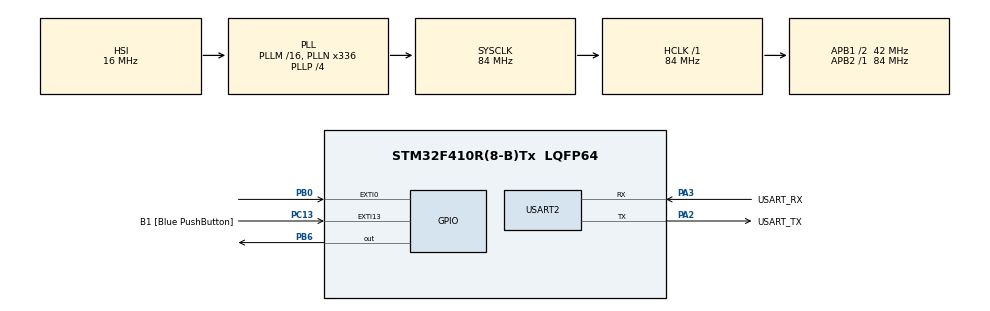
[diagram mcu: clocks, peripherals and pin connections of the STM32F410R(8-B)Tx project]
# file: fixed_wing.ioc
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Mcu.Family=STM32F4
Mcu.Name=STM32F410R(8-B)Tx
Mcu.Package=LQFP64
NVIC.PriorityGroup=NVIC_PRIORITYGROUP_0
PA10.Signal=USART1_RX
PA13.GPIO_Label=TMS
PA13.Mode=Serial_Wire
PA13.Signal=SYS_JTMS-SWDIO
PA14.GPIO_Label=TCK
PA14.Mode=Serial_Wire
PA14.Signal=SYS_JTCK-SWCLK
PA2.GPIO_Label=USART_TX
PA2.Mode=Asynchronous
PA2.Signal=USART2_TX
PA3.GPIO_Label=USART_RX
PA3.Mode=Asynchronous
PA3.Signal=USART2_RX
PA5.Signal=SPI1_SCK
PA6.Signal=SPI1_MISO
PA7.Signal=SPI1_MOSI
PA8.Signal=S_TIM1_CH1
PA9.Signal=USART1_TX
PB0.Signal=GPXTI0
PB3.GPIO_Label=SWO
PB3.Signal=SYS_JTDO-SWO
PB6.Signal=GPIO_Output
PB8.Signal=I2C1_SCL
PB9.Signal=I2C1_SDA
PC13-ANTI_TAMP.GPIO_Label=B1 [Blue PushButton]
PC13-ANTI_TAMP.GPIO_ModeDefaultEXTI=GPIO_MODE_IT_FALLING
PC13-ANTI_TAMP.Signal=GPXTI13
PC14-OSC32_IN.Mode=LSE-External-Oscillator
PC14-OSC32_IN.Signal=RCC_OSC32_IN
PC15-OSC32_OUT.Mode=LSE-External-Oscillator
PC15-OSC32_OUT.Signal=RCC_OSC32_OUT
PH0\ -\ OSC_IN.Mode=HSE-External-Clock-Source
PH0\ -\ OSC_IN.Signal=RCC_OSC_IN
PH1\ -\ OSC_OUT.Mode=HSE-External-Clock-Source
PH1\ -\ OSC_OUT.Signal=RCC_OSC_OUT
ProjectManager.HeapSize=0x200
ProjectManager.StackSize=0x400
ProjectManager.TargetToolchain=STM32CubeIDE
RCC.48MHZClocksFreq_Value=84000000
RCC.AHBFreq_Value=84000000
RCC.APB1CLKDivider=RCC_HCLK_DIV2
RCC.APB1Freq_Value=42000000
RCC.APB1TimFreq_Value=84000000
RCC.APB2Freq_Value=84000000
RCC.APB2TimFreq_Value=84000000
RCC.CortexFreq_Value=84000000
RCC.FLatency-AdvancedSettings=FLASH_LATENCY_2
RCC.HCLKFreq_Value=84000000
RCC.HSE_VALUE=8000000
RCC.HSI_VALUE=16000000
RCC.PLLN=336
RCC.PLLP=RCC_PLLP_DIV4
RCC.SYSCLKFreq_VALUE=84000000
RCC.SYSCLKSource=RCC_SYSCLKSOURCE_PLLCLK
RCC.VCOOutputFreq_Value=336000000
SH.S_TIM1_CH1.0=TIM1_CH1
USART2.VirtualMode=VM_ASYNC
board=NUCLEO-F410RB

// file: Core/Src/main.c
/* USER CODE BEGIN Header */
/**
  ******************************************************************************
  * @file           : main.c
  * @brief          : Main program body
  ******************************************************************************
  * @attention
  *
  * Copyright (c) 2026 STMicroelectronics.
  * All rights reserved.
  *
  * This software is licensed under terms that can be found in the LICENSE file
  * in the root directory of this software component.
  * If no LICENSE file comes with this software, it is provided AS-IS.
  *
  ******************************************************************************
  */
/* USER CODE END Header */
#include "main.h"

/* USER CODE BEGIN Includes */
#include "sensors.h"
#include "eskf.h"
#include <stdio.h>
/* USER CODE END Includes */

UART_HandleTypeDef huart2;

/* USER CODE BEGIN PV */
SensorData_t g_sensors;   /* readable snapshot filled by Sensor_read() */
ESKF_t       g_ekf;       /* attitude error-state Kalman filter */
/* USER CODE END PV */

void SystemClock_Config(void);
static void MX_GPIO_Init(void);
static void MX_USART2_UART_Init(void);

int main(void)
{

  /* MCU Configuration--------------------------------------------------------*/

  /* Reset of all peripherals, Initializes the Flash interface and the Systick. */
  HAL_Init();

  /* Configure the system clock */
  SystemClock_Config();

  /* Initialize all configured peripherals */
  MX_GPIO_Init();
  MX_USART2_UART_Init();
  /* USER CODE BEGIN 2 */
  /* Bring up SPI1 / I2C1 / USART1 and every sensor in one call */
  Sensors_Init();

  /* Initialise the attitude filter from a stationary sample.
   * KEEP THE BOARD STILL AND LEVEL for the first moment after power-on. */
  HAL_Delay(300);
  Sensor_read(&g_sensors);
  ESKF_Init(&g_ekf, g_sensors.accel_g, g_sensors.mag_uT);
  /* USER CODE END 2 */

  /* Infinite loop */
  /* USER CODE BEGIN WHILE */
  uint32_t last_tick = HAL_GetTick();
  while (1)
  {
    /* USER CODE END WHILE */

    /* USER CODE BEGIN 3 */
    uint32_t now = HAL_GetTick();
    float dt = (float)(now - last_tick) / 1000.0f;   /* seconds */
    last_tick = now;

    Sensor_read(&g_sensors);          /* IMU + mag (+ baro/GPS, unused here) */
    ESKF_Step(&g_ekf, &g_sensors, dt);/* predict (gyro) + correct (accel, mag) */

    float roll, pitch, yaw;
    ESKF_GetEuler(&g_ekf, &roll, &pitch, &yaw);

    char buf[72];
    int n = snprintf(buf, sizeof(buf), "RPY[0.1deg]: %d  %d  %d\r\n",
                     (int)(roll * 10.0f), (int)(pitch * 10.0f), (int)(yaw * 10.0f));
    HAL_UART_Transmit(&huart2, (uint8_t *)buf, (uint16_t)n, 50);

    HAL_Delay(20);                    /* ~50 Hz (move to a TIM interrupt later) */
  }
  /* USER CODE END 3 */
}

void SystemClock_Config(void)
{
  RCC_OscInitTypeDef RCC_OscInitStruct = {0};
  RCC_ClkInitTypeDef RCC_ClkInitStruct = {0};

  /** Configure the main internal regulator output voltage
  */
  __HAL_RCC_PWR_CLK_ENABLE();
  __HAL_PWR_VOLTAGESCALING_CONFIG(PWR_REGULATOR_VOLTAGE_SCALE1);

  /** Initializes the RCC Oscillators according to the specified parameters
  * in the RCC_OscInitTypeDef structure.
  */
  RCC_OscInitStruct.OscillatorType = RCC_OSCILLATORTYPE_HSI;
  RCC_OscInitStruct.HSIState = RCC_HSI_ON;
  RCC_OscInitStruct.HSICalibrationValue = RCC_HSICALIBRATION_DEFAULT;
  RCC_OscInitStruct.PLL.PLLState = RCC_PLL_ON;
  RCC_OscInitStruct.PLL.PLLSource = RCC_PLLSOURCE_HSI;
  RCC_OscInitStruct.PLL.PLLM = 16;
  RCC_OscInitStruct.PLL.PLLN = 336;
  RCC_OscInitStruct.PLL.PLLP = RCC_PLLP_DIV4;
  RCC_OscInitStruct.PLL.PLLQ = 4;
  RCC_OscInitStruct.PLL.PLLR = 2;
  if (HAL_RCC_OscConfig(&RCC_OscInitStruct) != HAL_OK)
  {
    Error_Handler();
  }

  /** Initializes the CPU, AHB and APB buses clocks
  */
  RCC_ClkInitStruct.ClockType = RCC_CLOCKTYPE_HCLK|RCC_CLOCKTYPE_SYSCLK
                              |RCC_CLOCKTYPE_PCLK1|RCC_CLOCKTYPE_PCLK2;
  RCC_ClkInitStruct.SYSCLKSource = RCC_SYSCLKSOURCE_PLLCLK;
  RCC_ClkInitStruct.AHBCLKDivider = RCC_SYSCLK_DIV1;
  RCC_ClkInitStruct.APB1CLKDivider = RCC_HCLK_DIV2;
  RCC_ClkInitStruct.APB2CLKDivider = RCC_HCLK_DIV1;

  if (HAL_RCC_ClockConfig(&RCC_ClkInitStruct, FLASH_LATENCY_2) != HAL_OK)
  {
    Error_Handler();
  }
}

static void MX_USART2_UART_Init(void)
{

  huart2.Instance = USART2;
  huart2.Init.BaudRate = 115200;
  huart2.Init.WordLength = UART_WORDLENGTH_8B;
  huart2.Init.StopBits = UART_STOPBITS_1;
  huart2.Init.Parity = UART_PARITY_NONE;
  huart2.Init.Mode = UART_MODE_TX_RX;
  huart2.Init.HwFlowCtl = UART_HWCONTROL_NONE;
  huart2.Init.OverSampling = UART_OVERSAMPLING_16;
  if (HAL_UART_Init(&huart2) != HAL_OK)
  {
    Error_Handler();
  }

}

static void MX_GPIO_Init(void)
{
  GPIO_InitTypeDef GPIO_InitStruct = {0};

  /* GPIO Ports Clock Enable */
  __HAL_RCC_GPIOC_CLK_ENABLE();
  __HAL_RCC_GPIOH_CLK_ENABLE();
  __HAL_RCC_GPIOA_CLK_ENABLE();
  __HAL_RCC_GPIOB_CLK_ENABLE();

  /*Configure GPIO pin Output Level */
  HAL_GPIO_WritePin(GPIOB, GPIO_PIN_6, GPIO_PIN_RESET);

  /*Configure GPIO pin : B1_Pin */
  GPIO_InitStruct.Pin = B1_Pin;
  GPIO_InitStruct.Mode = GPIO_MODE_IT_FALLING;
  GPIO_InitStruct.Pull = GPIO_NOPULL;
  HAL_GPIO_Init(B1_GPIO_Port, &GPIO_InitStruct);

  /*Configure GPIO pins : PA5 PA6 PA7 */
  GPIO_InitStruct.Pin = GPIO_PIN_5|GPIO_PIN_6|GPIO_PIN_7;
  GPIO_InitStruct.Mode = GPIO_MODE_AF_PP;
  GPIO_InitStruct.Pull = GPIO_NOPULL;
  GPIO_InitStruct.Speed = GPIO_SPEED_FREQ_VERY_HIGH;
  GPIO_InitStruct.Alternate = GPIO_AF5_SPI1;
  HAL_GPIO_Init(GPIOA, &GPIO_InitStruct);

  /*Configure GPIO pin : PB0 */
  GPIO_InitStruct.Pin = GPIO_PIN_0;
  GPIO_InitStruct.Mode = GPIO_MODE_IT_RISING;
  GPIO_InitStruct.Pull = GPIO_NOPULL;
  HAL_GPIO_Init(GPIOB, &GPIO_InitStruct);

  /*Configure GPIO pin : PA8 */
  GPIO_InitStruct.Pin = GPIO_PIN_8;
  GPIO_InitStruct.Mode = GPIO_MODE_AF_PP;
  GPIO_InitStruct.Pull = GPIO_NOPULL;
  GPIO_InitStruct.Speed = GPIO_SPEED_FREQ_LOW;
  GPIO_InitStruct.Alternate = GPIO_AF1_TIM1;
  HAL_GPIO_Init(GPIOA, &GPIO_InitStruct);

  /*Configure GPIO pins : PA9 PA10 */
  GPIO_InitStruct.Pin = GPIO_PIN_9|GPIO_PIN_10;
  GPIO_InitStruct.Mode = GPIO_MODE_AF_PP;
  GPIO_InitStruct.Pull = GPIO_NOPULL;
  GPIO_InitStruct.Speed = GPIO_SPEED_FREQ_VERY_HIGH;
  GPIO_InitStruct.Alternate = GPIO_AF7_USART1;
  HAL_GPIO_Init(GPIOA, &GPIO_InitStruct);

  /*Configure GPIO pin : PB6 */
  GPIO_InitStruct.Pin = GPIO_PIN_6;
  GPIO_InitStruct.Mode = GPIO_MODE_OUTPUT_PP;
  GPIO_InitStruct.Pull = GPIO_NOPULL;
  GPIO_InitStruct.Speed = GPIO_SPEED_FREQ_LOW;
  HAL_GPIO_Init(GPIOB, &GPIO_InitStruct);

  /*Configure GPIO pins : PB8 PB9 */
  GPIO_InitStruct.Pin = GPIO_PIN_8|GPIO_PIN_9;
  GPIO_InitStruct.Mode = GPIO_MODE_AF_OD;
  GPIO_InitStruct.Pull = GPIO_NOPULL;
  GPIO_InitStruct.Speed = GPIO_SPEED_FREQ_VERY_HIGH;
  GPIO_InitStruct.Alternate = GPIO_AF4_I2C1;
  HAL_GPIO_Init(GPIOB, &GPIO_InitStruct);

}

void Error_Handler(void)
{
  __disable_irq();
  while (1)
  {
  }
}
